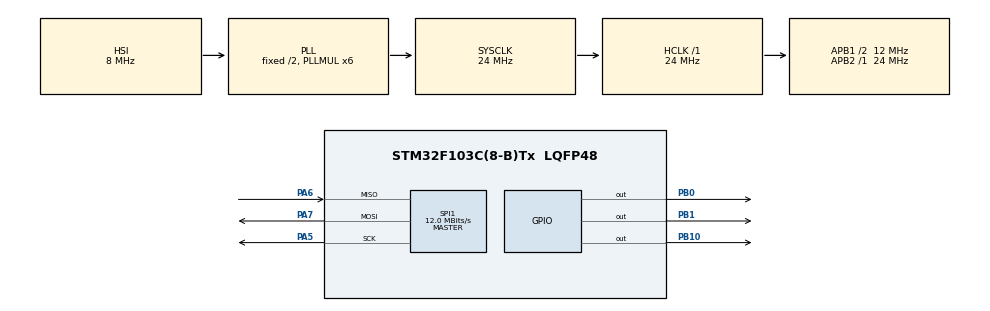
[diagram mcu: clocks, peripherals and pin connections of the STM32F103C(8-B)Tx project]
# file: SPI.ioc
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Mcu.Family=STM32F1
Mcu.Name=STM32F103C(8-B)Tx
Mcu.Package=LQFP48
NVIC.PriorityGroup=NVIC_PRIORITYGROUP_4
PA13.Mode=Serial_Wire
PA13.Signal=SYS_JTMS-SWDIO
PA14.Mode=Serial_Wire
PA14.Signal=SYS_JTCK-SWCLK
PA5.Mode=Full_Duplex_Master
PA5.Signal=SPI1_SCK
PA6.Mode=Full_Duplex_Master
PA6.Signal=SPI1_MISO
PA7.Mode=Full_Duplex_Master
PA7.Signal=SPI1_MOSI
PB0.Signal=GPIO_Output
PB1.Signal=GPIO_Output
PB10.Signal=GPIO_Output
ProjectManager.HeapSize=0x200
ProjectManager.StackSize=0x400
ProjectManager.TargetToolchain=STM32CubeIDE
RCC.AHBFreq_Value=24000000
RCC.APB1CLKDivider=RCC_HCLK_DIV2
RCC.APB1Freq_Value=12000000
RCC.APB1TimFreq_Value=24000000
RCC.APB2Freq_Value=24000000
RCC.APB2TimFreq_Value=24000000
RCC.HCLKFreq_Value=24000000
RCC.PLLMUL=RCC_PLL_MUL6
RCC.SYSCLKFreq_VALUE=24000000
RCC.SYSCLKSource=RCC_SYSCLKSOURCE_PLLCLK
RCC.USBFreq_Value=24000000
SPI1.CalculateBaudRate=12.0 MBits/s
SPI1.Direction=SPI_DIRECTION_2LINES
SPI1.Mode=SPI_MODE_MASTER
SPI1.VirtualType=VM_MASTER
board=custom

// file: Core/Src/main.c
/* USER CODE BEGIN Header */
/**
  ******************************************************************************
  * @file           : main.c
  * @brief          : Main program body
  ******************************************************************************
  * @attention
  *
  * Copyright (c) 2025 STMicroelectronics.
  * All rights reserved.
  *
  * This software is licensed under terms that can be found in the LICENSE file
  * in the root directory of this software component.
  * If no LICENSE file comes with this software, it is provided AS-IS.
  *
  ******************************************************************************
  */
/* USER CODE END Header */
#include "main.h"
#include <math.h>

SPI_HandleTypeDef hspi1;

void SystemClock_Config(void);
static void MX_GPIO_Init(void);
static void MX_SPI1_Init(void);

/* USER CODE BEGIN 0 */
#define DISPLAY_WIDTH   128
#define DISPLAY_HEIGHT  160

typedef struct {
    const uint8_t width;
    uint8_t height;
    const uint16_t *data;
} FontDef;
static const uint16_t Font7x10 [] = {
0x0000, 0x0000, 0x0000, 0x0000, 0x0000, 0x0000, 0x0000, 0x0000, 0x0000, 0x0000,  // sp
0x1000, 0x1000, 0x1000, 0x1000, 0x1000, 0x1000, 0x0000, 0x1000, 0x0000, 0x0000,  // !
0x2800, 0x2800, 0x2800, 0x0000, 0x0000, 0x0000, 0x0000, 0x0000, 0x0000, 0x0000,  // "
0x2400, 0x2400, 0x7C00, 0x2400, 0x4800, 0x7C00, 0x4800, 0x4800, 0x0000, 0x0000,  // #
0x3800, 0x5400, 0x5000, 0x3800, 0x1400, 0x5400, 0x5400, 0x3800, 0x1000, 0x0000,  // $
0x2000, 0x5400, 0x5800, 0x3000, 0x2800, 0x5400, 0x1400, 0x0800, 0x0000, 0x0000,  // %
0x1000, 0x2800, 0x2800, 0x1000, 0x3400, 0x4800, 0x4800, 0x3400, 0x0000, 0x0000,  // &
0x1000, 0x1000, 0x1000, 0x0000, 0x0000, 0x0000, 0x0000, 0x0000, 0x0000, 0x0000,  // '
0x0800, 0x1000, 0x2000, 0x2000, 0x2000, 0x2000, 0x2000, 0x2000, 0x1000, 0x0800,  // (
0x2000, 0x1000, 0x0800, 0x0800, 0x0800, 0x0800, 0x0800, 0x0800, 0x1000, 0x2000,  // )
0x1000, 0x3800, 0x1000, 0x2800, 0x0000, 0x0000, 0x0000, 0x0000, 0x0000, 0x0000,  // *
0x0000, 0x0000, 0x1000, 0x1000, 0x7C00, 0x1000, 0x1000, 0x0000, 0x0000, 0x0000,  // +
0x0000, 0x0000, 0x0000, 0x0000, 0x0000, 0x0000, 0x0000, 0x1000, 0x1000, 0x1000,  // ,
0x0000, 0x0000, 0x0000, 0x0000, 0x0000, 0x3800, 0x0000, 0x0000, 0x0000, 0x0000,  // -
0x0000, 0x0000, 0x0000, 0x0000, 0x0000, 0x0000, 0x0000, 0x1000, 0x0000, 0x0000,  // .
0x0800, 0x0800, 0x1000, 0x1000, 0x1000, 0x1000, 0x2000, 0x2000, 0x0000, 0x0000,  // /
0x3800, 0x4400, 0x4400, 0x5400, 0x4400, 0x4400, 0x4400, 0x3800, 0x0000, 0x0000,  // 0
0x1000, 0x3000, 0x5000, 0x1000, 0x1000, 0x1000, 0x1000, 0x1000, 0x0000, 0x0000,  // 1
0x3800, 0x4400, 0x4400, 0x0400, 0x0800, 0x1000, 0x2000, 0x7C00, 0x0000, 0x0000,  // 2
0x3800, 0x4400, 0x0400, 0x1800, 0x0400, 0x0400, 0x4400, 0x3800, 0x0000, 0x0000,  // 3
0x0800, 0x1800, 0x2800, 0x2800, 0x4800, 0x7C00, 0x0800, 0x0800, 0x0000, 0x0000,  // 4
0x7C00, 0x4000, 0x4000, 0x7800, 0x0400, 0x0400, 0x4400, 0x3800, 0x0000, 0x0000,  // 5
0x3800, 0x4400, 0x4000, 0x7800, 0x4400, 0x4400, 0x4400, 0x3800, 0x0000, 0x0000,  // 6
0x7C00, 0x0400, 0x0800, 0x1000, 0x1000, 0x2000, 0x2000, 0x2000, 0x0000, 0x0000,  // 7
0x3800, 0x4400, 0x4400, 0x3800, 0x4400, 0x4400, 0x4400, 0x3800, 0x0000, 0x0000,  // 8
0x3800, 0x4400, 0x4400, 0x4400, 0x3C00, 0x0400, 0x4400, 0x3800, 0x0000, 0x0000,  // 9
0x0000, 0x0000, 0x1000, 0x0000, 0x0000, 0x0000, 0x0000, 0x1000, 0x0000, 0x0000,  // :
0x0000, 0x0000, 0x0000, 0x1000, 0x0000, 0x0000, 0x0000, 0x1000, 0x1000, 0x1000,  // ;
0x0000, 0x0000, 0x0C00, 0x3000, 0x4000, 0x3000, 0x0C00, 0x0000, 0x0000, 0x0000,  // <
0x0000, 0x0000, 0x0000, 0x7C00, 0x0000, 0x7C00, 0x0000, 0x0000, 0x0000, 0x0000,  // =
0x0000, 0x0000, 0x6000, 0x1800, 0x0400, 0x1800, 0x6000, 0x0000, 0x0000, 0x0000,  // >
0x3800, 0x4400, 0x0400, 0x0800, 0x1000, 0x1000, 0x0000, 0x1000, 0x0000, 0x0000,  // ?
0x3800, 0x4400, 0x4C00, 0x5400, 0x5C00, 0x4000, 0x4000, 0x3800, 0x0000, 0x0000,  // @
0x1000, 0x2800, 0x2800, 0x2800, 0x2800, 0x7C00, 0x4400, 0x4400, 0x0000, 0x0000,  // A
0x7800, 0x4400, 0x4400, 0x7800, 0x4400, 0x4400, 0x4400, 0x7800, 0x0000, 0x0000,  // B
0x3800, 0x4400, 0x4000, 0x4000, 0x4000, 0x4000, 0x4400, 0x3800, 0x0000, 0x0000,  // C
0x7000, 0x4800, 0x4400, 0x4400, 0x4400, 0x4400, 0x4800, 0x7000, 0x0000, 0x0000,  // D
0x7C00, 0x4000, 0x4000, 0x7C00, 0x4000, 0x4000, 0x4000, 0x7C00, 0x0000, 0x0000,  // E
0x7C00, 0x4000, 0x4000, 0x7800, 0x4000, 0x4000, 0x4000, 0x4000, 0x0000, 0x0000,  // F
0x3800, 0x4400, 0x4000, 0x4000, 0x5C00, 0x4400, 0x4400, 0x3800, 0x0000, 0x0000,  // G
0x4400, 0x4400, 0x4400, 0x7C00, 0x4400, 0x4400, 0x4400, 0x4400, 0x0000, 0x0000,  // H
0x3800, 0x1000, 0x1000, 0x1000, 0x1000, 0x1000, 0x1000, 0x3800, 0x0000, 0x0000,  // I
0x0400, 0x0400, 0x0400, 0x0400, 0x0400, 0x0400, 0x4400, 0x3800, 0x0000, 0x0000,  // J
0x4400, 0x4800, 0x5000, 0x6000, 0x5000, 0x4800, 0x4800, 0x4400, 0x0000, 0x0000,  // K
0x4000, 0x4000, 0x4000, 0x4000, 0x4000, 0x4000, 0x4000, 0x7C00, 0x0000, 0x0000,  // L
0x4400, 0x6C00, 0x6C00, 0x5400, 0x4400, 0x4400, 0x4400, 0x4400, 0x0000, 0x0000,  // M
0x4400, 0x6400, 0x6400, 0x5400, 0x5400, 0x4C00, 0x4C00, 0x4400, 0x0000, 0x0000,  // N
0x3800, 0x4400, 0x4400, 0x4400, 0x4400, 0x4400, 0x4400, 0x3800, 0x0000, 0x0000,  // O
0x7800, 0x4400, 0x4400, 0x4400, 0x7800, 0x4000, 0x4000, 0x4000, 0x0000, 0x0000,  // P
0x3800, 0x4400, 0x4400, 0x4400, 0x4400, 0x4400, 0x5400, 0x3800, 0x0400, 0x0000,  // Q
0x7800, 0x4400, 0x4400, 0x4400, 0x7800, 0x4800, 0x4800, 0x4400, 0x0000, 0x0000,  // R
0x3800, 0x4400, 0x4000, 0x3000, 0x0800, 0x0400, 0x4400, 0x3800, 0x0000, 0x0000,  // S
0x7C00, 0x1000, 0x1000, 0x1000, 0x1000, 0x1000, 0x1000, 0x1000, 0x0000, 0x0000,  // T
0x4400, 0x4400, 0x4400, 0x4400, 0x4400, 0x4400, 0x4400, 0x3800, 0x0000, 0x0000,  // U
0x4400, 0x4400, 0x4400, 0x2800, 0x2800, 0x2800, 0x1000, 0x1000, 0x0000, 0x0000,  // V
0x4400, 0x4400, 0x5400, 0x5400, 0x5400, 0x6C00, 0x2800, 0x2800, 0x0000, 0x0000,  // W
0x4400, 0x2800, 0x2800, 0x1000, 0x1000, 0x2800, 0x2800, 0x4400, 0x0000, 0x0000,  // X
0x4400, 0x4400, 0x2800, 0x2800, 0x1000, 0x1000, 0x1000, 0x1000, 0x0000, 0x0000,  // Y
0x7C00, 0x0400, 0x0800, 0x1000, 0x1000, 0x2000, 0x4000, 0x7C00, 0x0000, 0x0000,  // Z
0x1800, 0x1000, 0x1000, 0x1000, 0x1000, 0x1000, 0x1000, 0x1000, 0x1000, 0x1800,  // [
0x2000, 0x2000, 0x1000, 0x1000, 0x1000, 0x1000, 0x0800, 0x0800, 0x0000, 0x0000,  /* \ */
0x3000, 0x1000, 0x1000, 0x1000, 0x1000, 0x1000, 0x1000, 0x1000, 0x1000, 0x3000,  // ]
0x1000, 0x2800, 0x2800, 0x4400, 0x0000, 0x0000, 0x0000, 0x0000, 0x0000, 0x0000,  // ^
0x0000, 0x0000, 0x0000, 0x0000, 0x0000, 0x0000, 0x0000, 0x0000, 0x0000, 0xFE00,  // _
0x2000, 0x1000, 0x0000, 0x0000, 0x0000, 0x0000, 0x0000, 0x0000, 0x0000, 0x0000,  // `
0x0000, 0x0000, 0x3800, 0x4400, 0x3C00, 0x4400, 0x4C00, 0x3400, 0x0000, 0x0000,  // a
0x4000, 0x4000, 0x5800, 0x6400, 0x4400, 0x4400, 0x6400, 0x5800, 0x0000, 0x0000,  // b
0x0000, 0x0000, 0x3800, 0x4400, 0x4000, 0x4000, 0x4400, 0x3800, 0x0000, 0x0000,  // c
0x0400, 0x0400, 0x3400, 0x4C00, 0x4400, 0x4400, 0x4C00, 0x3400, 0x0000, 0x0000,  // d
0x0000, 0x0000, 0x3800, 0x4400, 0x7C00, 0x4000, 0x4400, 0x3800, 0x0000, 0x0000,  // e
0x0C00, 0x1000, 0x7C00, 0x1000, 0x1000, 0x1000, 0x1000, 0x1000, 0x0000, 0x0000,  // f
0x0000, 0x0000, 0x3400, 0x4C00, 0x4400, 0x4400, 0x4C00, 0x3400, 0x0400, 0x7800,  // g
0x4000, 0x4000, 0x5800, 0x6400, 0x4400, 0x4400, 0x4400, 0x4400, 0x0000, 0x0000,  // h
0x1000, 0x0000, 0x7000, 0x1000, 0x1000, 0x1000, 0x1000, 0x1000, 0x0000, 0x0000,  // i
0x1000, 0x0000, 0x7000, 0x1000, 0x1000, 0x1000, 0x1000, 0x1000, 0x1000, 0xE000,  // j
0x4000, 0x4000, 0x4800, 0x5000, 0x6000, 0x5000, 0x4800, 0x4400, 0x0000, 0x0000,  // k
0x7000, 0x1000, 0x1000, 0x1000, 0x1000, 0x1000, 0x1000, 0x1000, 0x0000, 0x0000,  // l
0x0000, 0x0000, 0x7800, 0x5400, 0x5400, 0x5400, 0x5400, 0x5400, 0x0000, 0x0000,  // m
0x0000, 0x0000, 0x5800, 0x6400, 0x4400, 0x4400, 0x4400, 0x4400, 0x0000, 0x0000,  // n
0x0000, 0x0000, 0x3800, 0x4400, 0x4400, 0x4400, 0x4400, 0x3800, 0x0000, 0x0000,  // o
0x0000, 0x0000, 0x5800, 0x6400, 0x4400, 0x4400, 0x6400, 0x5800, 0x4000, 0x4000,  // p
0x0000, 0x0000, 0x3400, 0x4C00, 0x4400, 0x4400, 0x4C00, 0x3400, 0x0400, 0x0400,  // q
0x0000, 0x0000, 0x5800, 0x6400, 0x4000, 0x4000, 0x4000, 0x4000, 0x0000, 0x0000,  // r
0x0000, 0x0000, 0x3800, 0x4400, 0x3000, 0x0800, 0x4400, 0x3800, 0x0000, 0x0000,  // s
0x2000, 0x2000, 0x7800, 0x2000, 0x2000, 0x2000, 0x2000, 0x1800, 0x0000, 0x0000,  // t
0x0000, 0x0000, 0x4400, 0x4400, 0x4400, 0x4400, 0x4C00, 0x3400, 0x0000, 0x0000,  // u
0x0000, 0x0000, 0x4400, 0x4400, 0x2800, 0x2800, 0x2800, 0x1000, 0x0000, 0x0000,  // v
0x0000, 0x0000, 0x5400, 0x5400, 0x5400, 0x6C00, 0x2800, 0x2800, 0x0000, 0x0000,  // w
0x0000, 0x0000, 0x4400, 0x2800, 0x1000, 0x1000, 0x2800, 0x4400, 0x0000, 0x0000,  // x
0x0000, 0x0000, 0x4400, 0x4400, 0x2800, 0x2800, 0x1000, 0x1000, 0x1000, 0x6000,  // y
0x0000, 0x0000, 0x7C00, 0x0800, 0x1000, 0x2000, 0x4000, 0x7C00, 0x0000, 0x0000,  // z
0x1800, 0x1000, 0x1000, 0x1000, 0x2000, 0x2000, 0x1000, 0x1000, 0x1000, 0x1800,  // {
0x1000, 0x1000, 0x1000, 0x1000, 0x1000, 0x1000, 0x1000, 0x1000, 0x1000, 0x1000,  // |
0x3000, 0x1000, 0x1000, 0x1000, 0x0800, 0x0800, 0x1000, 0x1000, 0x1000, 0x3000,  // }
0x0000, 0x0000, 0x0000, 0x7400, 0x4C00, 0x0000, 0x0000, 0x0000, 0x0000, 0x0000,  // ~
};
FontDef Font_7x10 = {7, 10, Font7x10};
#define LCD_CMD_END 0xFF
static const uint8_t u8InitCmdList[] = {
    // Command, Length, Data...
    0xB1, 0x03, 0x01, 0x2C, 0x2D, // Frame Rate Control (In normal mode)
    0xB2, 0x03, 0x01, 0x2C, 0x2D, // Frame Rate Control (In Idle mode)
    0xB3, 0x06, 0x01, 0x2C, 0x2D, 0x01, 0x2C, 0x2D, // Frame Rate Control (In Partial mode)
    0xB4, 0x01, 0x07, // Display Inversion Control
    0xC0, 0x03, 0xA2, 0x02, 0x84, // Power Control 1
    0xC1, 0x01, 0xC5, // Power Control 2
    0xC2, 0x02, 0x0A, 0x00, // Power Control 3 (in normal mode)
    0xC3, 0x02, 0x8A, 0x2A, // Power Control 4 (in Idle mode)
    0xC4, 0x02, 0x8A, 0xEE, // Power Control 5 (in Partial mode)
    0xC5, 0x01, 0x0E, // VCOM Control 1

    // E0: Positive Gamma (0x10 byte data)
    0xE0, 0x10, 0x02, 0x1C, 0x07, 0x12, 0x37, 0x32, 0x29, 0x2D, 0x29, 0x25, 0x2B, 0x39, 0x00, 0x01, 0x03, 0x10,

    // E1: Negative Gamma (0x10 byte data)
    0xE1, 0x10, 0x03, 0x1D, 0x07, 0x06, 0x2E, 0x2C, 0x29, 0x2D, 0x2E, 0x2E, 0x37, 0x3F, 0x00, 0x00, 0x02, 0x10,

    LCD_CMD_END, LCD_CMD_END // Dấu kết thúc danh sách
};
void writeCMDTFT(uint8_t cmd)
{
    HAL_GPIO_WritePin(GPIOB, GPIO_PIN_0, 0); // CS = 0
    HAL_GPIO_WritePin(GPIOB, GPIO_PIN_1, 0); // A0 = 0 -> CMD
    HAL_SPI_Transmit(&hspi1, &cmd, 1, 1000);
    HAL_GPIO_WritePin(GPIOB, GPIO_PIN_0, 1); // CS = 1
}

void writeDataTFT(uint8_t data)
{
    HAL_GPIO_WritePin(GPIOB, GPIO_PIN_0, 0);
    HAL_GPIO_WritePin(GPIOB, GPIO_PIN_1, 1); // A0 = 1 -> DATA
    HAL_SPI_Transmit(&hspi1, &data, 1, 1000);
    HAL_GPIO_WritePin(GPIOB, GPIO_PIN_0, 1);
}
void sendCMDList(const uint8_t * cmdList) {
    uint8_t index = 0;
    uint8_t cmd = 0;
    uint8_t num = 0;

    while(1) {
        cmd = *cmdList++;
        num = *cmdList++;

        if (cmd == LCD_CMD_END) {
            break;
        } else {
            writeCMDTFT(cmd);
            for(index = 0; index < num; index++) {
                writeDataTFT(*cmdList++);
            }
        }
    }
}
void setPos(uint8_t x1, uint8_t y1, uint8_t x2, uint8_t y2)
{
    writeCMDTFT(0x2A);
    writeDataTFT(0x00);
    writeDataTFT(x1);
    writeDataTFT(0x00);
    writeDataTFT(x2);
    writeCMDTFT(0x2B);
    writeDataTFT(0x00);
    writeDataTFT(y1);
    writeDataTFT(0x00);
    writeDataTFT(y2);
}
// RGB 16bit 565

// Hàm drawPixel uint16_t
void drawPixel(uint8_t x, uint8_t y, uint16_t color) {
    if (x >= DISPLAY_WIDTH || y >= DISPLAY_HEIGHT) { // 128x160
        return;
    }
    setPos(x, y, x+1, y+1);
    writeCMDTFT(0x2C);
    writeDataTFT(color >> 8);

    writeDataTFT(color & 0xFF);

}

// Hàm fullDisplay cũng cần được cập nhật để sử dụng kích thước mới
void fullDisplay(uint16_t color) {
    writeCMDTFT(0x2C);
    int i;
    for (i = 0; i < DISPLAY_WIDTH * DISPLAY_HEIGHT; i++) {
        writeDataTFT(color >> 8); // Byte Cao

        writeDataTFT(color & 0xFF); // Byte Thấp
    }
}

void drawChar(uint16_t x, uint16_t y, char ch, FontDef font, uint16_t color, uint16_t bg)
{
    uint16_t i, j;
    uint16_t pixelData;
    for(i = 0; i < font.height; i++) {
        pixelData = font.data[(ch - 32)*font.height + i];
        for(j = 0; j < font.width; j++){
            if ((pixelData << j) & 0x8000 ) {
                drawPixel(x+j, y+i, color);
            } else {
                drawPixel(x+j, y+i, bg);
            }
        }
    }
}
void drawString(uint8_t x, uint8_t y, char *str, FontDef font, uint16_t color, uint16_t bg) {
    while (*str) {
        drawChar(x, y, *str, font, color, bg);
        x += font.width;
        str++;
    }
}
void initTFT()
{
    HAL_GPIO_WritePin(GPIOB, GPIO_PIN_10, 0);
    HAL_Delay(20);
    HAL_GPIO_WritePin(GPIOB, GPIO_PIN_10, 1);
    HAL_Delay(150);

    // SW RESET
    writeCMDTFT(0x01);
    HAL_Delay(150);

    // Sleep out
    writeCMDTFT(0x11);
    HAL_Delay(255);

    sendCMDList(u8InitCmdList);

    writeCMDTFT(0x36); // Lệnh MADCTL
    writeDataTFT(0x00);

    writeCMDTFT(0x3A); // Interface Pixel Format
    writeDataTFT(0x05);

    writeCMDTFT(0x20); // Display inversion off

    setPos(0, 0, 128, 160);
    //EN display
    writeCMDTFT(0x29);
    HAL_Delay(100);
}
/* USER CODE END 0 */

int main(void)
{

  /* MCU Configuration--------------------------------------------------------*/

  /* Reset of all peripherals, Initializes the Flash interface and the Systick. */
  HAL_Init();

  /* Configure the system clock */
  SystemClock_Config();

  /* Initialize all configured peripherals */
  MX_GPIO_Init();
  MX_SPI1_Init();
  /* USER CODE BEGIN 2 */
  HAL_GPIO_WritePin(GPIOB, GPIO_PIN_0, 1);
  initTFT();
  /* USER CODE END 2 */
  fullDisplay(0x07E0);
  //drawVietnamFlag();
  /* Infinite loop */
  while (1)
  {
	 drawString(0, 0, "Hello 1 2 3", Font_7x10, 0xFFFF, 0x0000 );
	 HAL_Delay(100);
  }
}

void SystemClock_Config(void)
{
  RCC_OscInitTypeDef RCC_OscInitStruct = {0};
  RCC_ClkInitTypeDef RCC_ClkInitStruct = {0};

  /** Initializes the RCC Oscillators according to the specified parameters
  * in the RCC_OscInitTypeDef structure.
  */
  RCC_OscInitStruct.OscillatorType = RCC_OSCILLATORTYPE_HSI;
  RCC_OscInitStruct.HSIState = RCC_HSI_ON;
  RCC_OscInitStruct.HSICalibrationValue = RCC_HSICALIBRATION_DEFAULT;
  RCC_OscInitStruct.PLL.PLLState = RCC_PLL_ON;
  RCC_OscInitStruct.PLL.PLLSource = RCC_PLLSOURCE_HSI_DIV2;
  RCC_OscInitStruct.PLL.PLLMUL = RCC_PLL_MUL6;
  if (HAL_RCC_OscConfig(&RCC_OscInitStruct) != HAL_OK)
  {
    Error_Handler();
  }

  /** Initializes the CPU, AHB and APB buses clocks
  */
  RCC_ClkInitStruct.ClockType = RCC_CLOCKTYPE_HCLK|RCC_CLOCKTYPE_SYSCLK
                              |RCC_CLOCKTYPE_PCLK1|RCC_CLOCKTYPE_PCLK2;
  RCC_ClkInitStruct.SYSCLKSource = RCC_SYSCLKSOURCE_PLLCLK;
  RCC_ClkInitStruct.AHBCLKDivider = RCC_SYSCLK_DIV1;
  RCC_ClkInitStruct.APB1CLKDivider = RCC_HCLK_DIV2;
  RCC_ClkInitStruct.APB2CLKDivider = RCC_HCLK_DIV1;

  if (HAL_RCC_ClockConfig(&RCC_ClkInitStruct, FLASH_LATENCY_0) != HAL_OK)
  {
    Error_Handler();
  }
}

static void MX_SPI1_Init(void)
{

  /* SPI1 parameter configuration*/
  hspi1.Instance = SPI1;
  hspi1.Init.Mode = SPI_MODE_MASTER;
  hspi1.Init.Direction = SPI_DIRECTION_2LINES;
  hspi1.Init.DataSize = SPI_DATASIZE_8BIT;
  hspi1.Init.CLKPolarity = SPI_POLARITY_LOW;
  hspi1.Init.CLKPhase = SPI_PHASE_1EDGE;
  hspi1.Init.NSS = SPI_NSS_SOFT;
  hspi1.Init.BaudRatePrescaler = SPI_BAUDRATEPRESCALER_2;
  hspi1.Init.FirstBit = SPI_FIRSTBIT_MSB;
  hspi1.Init.TIMode = SPI_TIMODE_DISABLE;
  hspi1.Init.CRCCalculation = SPI_CRCCALCULATION_DISABLE;
  hspi1.Init.CRCPolynomial = 10;
  if (HAL_SPI_Init(&hspi1) != HAL_OK)
  {
    Error_Handler();
  }

}

static void MX_GPIO_Init(void)
{
  GPIO_InitTypeDef GPIO_InitStruct = {0};

  /* GPIO Ports Clock Enable */
  __HAL_RCC_GPIOA_CLK_ENABLE();
  __HAL_RCC_GPIOB_CLK_ENABLE();

  /*Configure GPIO pin Output Level */
  HAL_GPIO_WritePin(GPIOB, GPIO_PIN_0|GPIO_PIN_1|GPIO_PIN_10, GPIO_PIN_RESET);

  /*Configure GPIO pins : PB0 PB1 PB10 */
  GPIO_InitStruct.Pin = GPIO_PIN_0|GPIO_PIN_1|GPIO_PIN_10;
  GPIO_InitStruct.Mode = GPIO_MODE_OUTPUT_PP;
  GPIO_InitStruct.Pull = GPIO_NOPULL;
  GPIO_InitStruct.Speed = GPIO_SPEED_FREQ_LOW;
  HAL_GPIO_Init(GPIOB, &GPIO_InitStruct);

}

void Error_Handler(void)
{
  __disable_irq();
  while (1)
  {
  }
}
